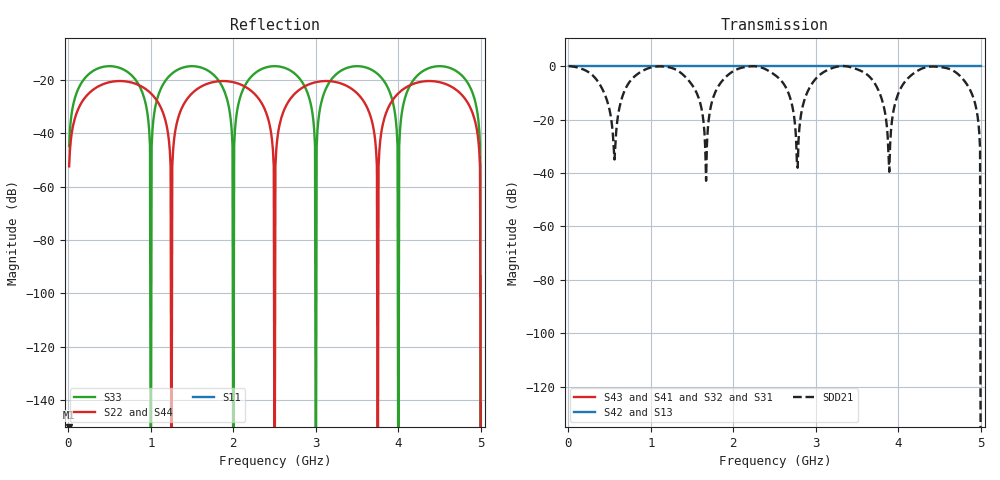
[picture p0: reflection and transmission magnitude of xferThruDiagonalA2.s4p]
# MHz MA S R 50.0
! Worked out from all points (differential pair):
!   500 points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, 10 MHz to 5 GHz, reference 50 ohm
!   strongest paths, dB at 10 MHz, 1.26 GHz, 2.51 GHz, 3.76 GHz, 5 GHz:
!     S42: 0.0, 0.0, 0.0, 0.0, 0.0
!     S13: 0.0, 0.1, -0.4, 0.0, 0.0
!     S43: -, -, -, -, -
!     S41: -, -, -, -, -
!     S32: -, -, -, -, -
!     S31: -, -, -, -, -
!   taken as a pair (ports 2,3 in; 4,1 out), SDD21 dB: 0.0, -0.7, -3.4, -9.1, -
!   lowest |S11| = - dB at 10 MHz (marker M1), VSWR 1.00, Z = 50 + j0 ohm
!   |S11| at or under -10 dB: start of sweep to end of sweep
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10  0 0.0  0 0.0  0.9998 -3.3  0 0.0
    0 0.0  0.002399 88.6  0 0.0  1 -2.9
    0 0.0  0 0.0  0.005759 88.2  0 0.0
    0 0.0  1 0.0  0 0.0  0.002399 88.6
570  0 0.0  0 0.0  0.9683 176.6  0 0.0
     0 0.0  0.09412 7.9  0 0.0  0.9911 -164.2
     0 0.0  0 0.0  0.1761 -12.4  0 0.0
     0 0.0  1 0.0  0 0.0  0.09412 7.9
1250  0 0.0  0 0.0  1.006 -44.1  0 0.0
      0 0.0  0 -90.0  0 0.0  1 0.0
      0 0.0  0 0.0  0.1286 44.5  0 0.0
      0 0.0  1 0.0  0 0.0  0 -0.0
1870  0 0.0  0 0.0  0.9829 113.8  0 0.0
      0 0.0  0.09502 0.7  0 0.0  0.991 -178.6
      0 0.0  0 0.0  0.07262 -66.3  0 0.0
      0 0.0  1 0.0  0 0.0  0.09502 0.7
3890  0 0.0  0 0.0  0.9819 179.4  0 0.0
      0 0.0  0.03288 69.8  0 0.0  0.9989 -40.5
      0 0.0  0 0.0  0.06198 -69.9  0 0.0
      0 0.0  1 0.0  0 0.0  0.03288 69.8
4550  0 0.0  0 0.0  0.9638 -32.6  0 0.0
      0 0.0  0.08605 -25.1  0 0.0  0.9926 129.8
      0 0.0  0 0.0  0.1782 -8.9  0 0.0
      0 0.0  1 0.0  0 0.0  0.08605 -25.1
5000  0 0.0  0 0.0  1 -180.0  0 0.0
      0 0.0  0 -90.0  0 0.0  1 0.0
      0 0.0  0 0.0  0 -0.1  0 0.0
      0 0.0  1 0.0  0 0.0  0 -0.1
